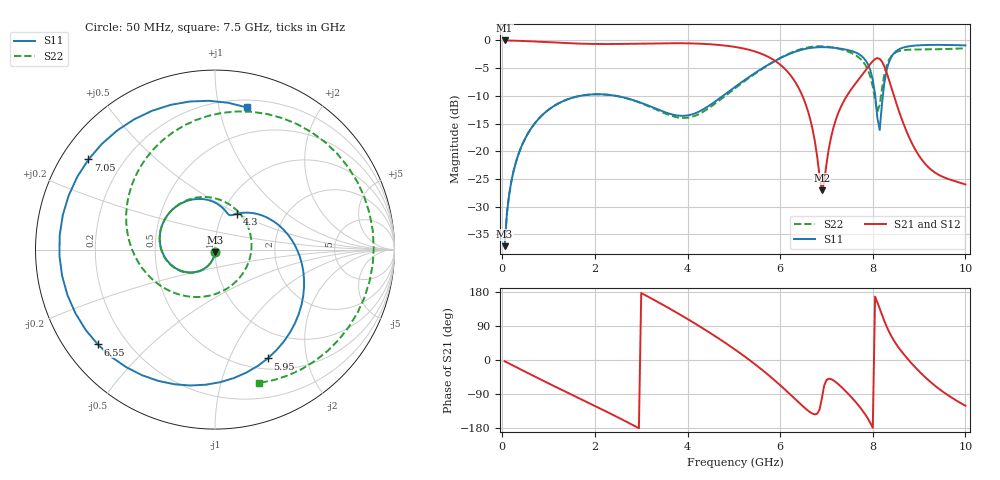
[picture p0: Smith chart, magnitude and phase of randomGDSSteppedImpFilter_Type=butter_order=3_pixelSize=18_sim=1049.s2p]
! freq	dB(S11)	phase(S11)	dB(S12)	phase(S12)
!  dB(S21)	phase(S21)	dB(S22)	phase(S22)
!S-par simulation data
#  GHz  S  DB  R 50
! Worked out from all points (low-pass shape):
!   200 points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, 50 MHz to 10 GHz, reference 50 ohm
!   highest |S21| = -0.01 dB at 50 MHz (marker M1); lowest = -27.1 dB at 6.9 GHz (marker M2)
!   |S21| within 3 dB of the highest: start of sweep to 5.752 GHz
!   lowest |S11| = -37.1 dB at 50 MHz (marker M3), VSWR 1.03, Z = 49.9 - j1.39 ohm
!   |S11| at or under -10 dB: start of sweep to 1.685 GHz; 2.453 GHz to 4.764 GHz (2.312 GHz wide, 64.1 % of centre); 8.053 GHz to 8.218 GHz (165.3 MHz wide, 2.03 % of centre)
!   |S22| runs from -37.1 to -1.1 dB; largest |S21 - S12| = 0
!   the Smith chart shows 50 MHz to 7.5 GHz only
!   S11 on the Smith chart (normalised r, x): 50 MHz: 1.00, -0.03; 4.3 GHz: 1.17, +0.49; 5.95 GHz: 0.63, -1.40; 6.55 GHz: 0.10, -0.35; 7.05 GHz: 0.08, +0.32; 7.5 GHz: 0.26, +1.21
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0.05  -37.13 -92.4  -0.01 -3.2  -0.01 -3.2  -37.12 -92.3
0.2  -25.24 -102.9  -0.03 -12.6  -0.03 -12.6  -25.23 -102.6
0.5  -17.60 -122.1  -0.12 -31.3  -0.12 -31.3  -17.60 -121.4
1.75  -9.91 162.8  -0.60 -106.5  -0.60 -106.5  -9.90 163.2
2.65  -10.35 112.7  -0.63 -160.9  -0.63 -160.9  -10.38 104.9
3.4  -12.60 79.0  -0.52 150.3  -0.52 150.3  -12.77 41.9
4.3  -12.62 58.5  -0.61 85.9  -0.61 85.9  -13.06 -68.1
5.05  -8.24 19.0  -1.21 25.4  -1.21 25.4  -8.49 -151.0
5.95  -3.43 -64.2  -4.04 -61.0  -4.04 -61.0  -3.41 115.6
6.55  -1.51 -141.0  -11.48 -128.4  -11.48 -128.4  -1.34 44.3
6.7  -1.31 -162.8  -16.03 -141.6  -16.03 -141.6  -1.13 25.6
6.9  -1.21 167.2  -27.05 -101.9  -27.05 -101.9  -1.06 0.7
7.05  -1.25 144.5  -19.58 -49.3  -19.58 -49.3  -1.17 -17.7
7.5  -1.81 77.5  -9.25 -93.1  -9.25 -93.1  -2.13 -71.7
7.8  -3.14 32.0  -5.89 -137.1  -5.89 -137.1  -3.95 -109.8
8.05  -9.74 -6.9  -3.36 167.2  -3.36 167.2  -10.74 -131.2
8.15  -16.17 43.1  -3.33 135.6  -3.33 135.6  -11.63 -90.4
8.35  -3.91 48.5  -7.10 75.0  -7.10 75.0  -3.50 -105.4
8.6  -1.47 11.4  -13.59 25.8  -13.59 25.8  -1.86 -145.8
8.95  -0.91 -22.4  -20.16 -23.5  -20.16 -23.5  -1.63 170.5
9.5  -0.81 -60.1  -24.57 -82.5  -24.57 -82.5  -1.57 111.8
10  -0.89 -88.0  -25.98 -120.7  -25.98 -120.7  -1.42 66.1
